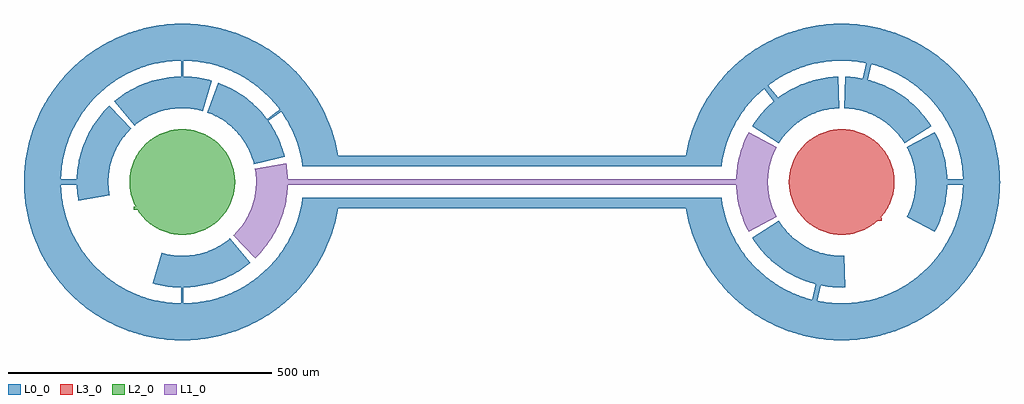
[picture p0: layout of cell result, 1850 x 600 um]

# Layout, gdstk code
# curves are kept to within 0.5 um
import gdstk
lib = gdstk.Library(unit=1e-6, precision=1e-09)
def P(c, l, *ps):  # polygons
    for p in ps: c.add(gdstk.Polygon(p, *l))
L0_0 = (0, 0)
L1_0 = (1, 0)
L2_0 = (2, 0)
L3_0 = (3, 0)

result = lib.new_cell('result')
P(result, L0_0, [(1450.361,1735.28),(1453.247,1705.981),(1458.991,1677.106),(1467.537,1648.933),(1478.803,1621.733),(1492.681,1595.769),(1509.038,1571.29),(1527.715,1548.532),(1550.602,1525.869),(1550.602,1635.384),(1537.873,1661.105),(1532.462,1675.319),(1528.002,1689.86),(1522.542,1715.899),(1520.061,1745),(1550.076,1745),(1550.602,1734.619),(1550.602,1765.332),(1550.077,1755),(1520.061,1755),(1522.542,1784.101),(1528.002,1810.14),(1532.462,1824.681),(1537.873,1838.895),(1550.602,1864.616),(1550.602,1974.131),(1527.715,1951.468),(1506.146,1924.743),(1487.773,1895.729),(1472.836,1864.805),(1461.531,1832.377),(1454.846,1803.705),(1450.642,1769.621)],
  [(1551.451,1866.096),(1559.558,1878.964),(1568.498,1891.269),(1578.231,1902.956),(1588.716,1913.974),(1599.905,1924.274),(1611.751,1933.813),(1635.195,1949.289),(1635.195,2027.164),(1612.929,2016.855),(1591.58,2004.761),(1571.29,1990.962),(1550.602,1974.131),(1550.602,1864.616)],
  [(1635.195,1913.755),(1632.236,1911.653),(1628.39,1908.779),(1624.613,1905.814),(1620.908,1902.759),(1635.195,1885.853)],
  [(1612.213,1725.208),(1610.007,1748.605),(1611.746,1772.042),(1615.381,1788.44),(1619.687,1801.172),(1626.753,1816.409),(1635.195,1830.112),(1635.195,1869.717),(1611.571,1894.352),(1598.368,1880.413),(1583.841,1861.316),(1571.706,1840.616),(1563.839,1823.102),(1557.687,1804.915),(1552.494,1781.489),(1550.602,1765.332),(1550.602,1734.619),(1553.161,1714.583)],
  [(1635.195,1550.711),(1621.036,1559.558),(1608.731,1568.498),(1597.044,1578.231),(1586.026,1588.716),(1575.726,1599.905),(1566.187,1611.751),(1550.602,1635.384),(1550.602,1525.869),(1571.29,1509.038),(1591.58,1495.239),(1612.929,1483.145),(1635.195,1472.836)],
  [(1635.195,1949.289),(1661.105,1962.127),(1686.197,1970.973),(1700.941,1974.707),(1715.899,1977.458),(1742.395,1979.874),(1742.395,2049.894),(1715.714,2048.034),(1686.667,2043.239),(1658.229,2035.619),(1635.195,2027.164)],
  [(1662.229,1859.07),(1681.71,1872.215),(1699.962,1880.752),(1719.251,1886.581),(1742.395,1889.792),(1742.395,1949.842),(1715.488,1947),(1701.401,1944.005),(1687.565,1940.005),(1674.054,1935.019),(1660.936,1929.074),(1648.28,1922.2),(1635.195,1913.755),(1635.195,1885.853),(1659.636,1856.931)],
  [(1635.593,1830.691),(1637.563,1833.414),(1639.598,1836.089),(1641.696,1838.715),(1643.857,1841.289),(1646.079,1843.811),(1648.361,1846.279),(1650.702,1848.691),(1653.1,1851.046),(1635.195,1869.717),(1635.195,1830.112)],
  [(1742.395,1610.217),(1727.323,1611.849),(1710.941,1615.559),(1694.202,1557.941),(1717.604,1552.641),(1742.395,1550.154)],
  [(1742.395,1520.126),(1715.899,1522.542),(1700.941,1525.293),(1686.197,1529.027),(1661.105,1537.873),(1635.195,1550.711),(1635.195,1472.836),(1658.229,1464.381),(1686.667,1456.761),(1715.714,1451.966),(1742.395,1450.106)],
  [(1748,1979.984),(1748,1949.981),(1742.395,1949.842),(1742.395,1889.792),(1766.02,1889.08),(1789.059,1884.441),(1805.798,1942.059),(1791.832,1945.576),(1777.649,1948.08),(1752,1949.977),(1752,1979.984),(1772.78,1978.869),(1795.337,1975.487),(1813.803,1970.973),(1835.127,1963.664),(1835.127,2037.659),(1813.333,2043.239),(1789.158,2047.433),(1764.72,2049.639),(1742.395,2049.894),(1742.395,1979.874)],
  [(1835.127,1930.974),(1817.748,1938.176),(1797.423,1881.723),(1815.842,1873.551),(1835.127,1861.139)],
  [(1754.909,1450.04),(1774.516,1451.003),(1794.019,1453.247),(1813.333,1456.761),(1835.127,1462.341),(1835.127,1536.336),(1813.803,1529.027),(1795.337,1524.513),(1772.78,1521.131),(1752,1520.016),(1752,1550.019),(1775.016,1551.571),(1793.928,1554.884),(1816.978,1561.549),(1835.127,1569.026),(1835.127,1638.854),(1824.077,1631.204),(1812.345,1624.648),(1790.499,1615.986),(1767.511,1611.099),(1754.112,1610.06),(1742.395,1610.217),(1742.395,1550.154),(1748,1550.023),(1748,1520.016),(1742.395,1520.126),(1742.395,1450.106)],
  [(1929.225,1990.573),(1908.42,2004.761),(1882.687,2019.062),(1860.255,2029.005),(1835.127,2037.659),(1835.127,1963.664),(1859.468,1952.279),(1872.597,1944.602),(1885.191,1936.074),(1897.193,1926.732),(1908.551,1916.618),(1919.216,1905.775),(1929.225,1894.146)],
  [(1885.959,1783.395),(1929.225,1794.022),(1929.225,1838.747),(1922.666,1850.928),(1912.962,1865.926),(1929.225,1877.742),(1929.225,1882.687),(1910.608,1869.161),(1893.714,1889.091),(1876.023,1905.301),(1856.518,1919.275),(1835.127,1930.974),(1835.127,1861.139),(1843.332,1854.351),(1852.908,1844.92),(1867.336,1826.369),(1878.457,1805.666)],
  [(1839.064,1570.926),(1859.869,1582.881),(1879.092,1597.241),(1840.364,1643.069),(1835.127,1638.854),(1835.127,1569.026)],
  [(1837.085,1462.918),(1864.805,1472.836),(1887.071,1483.145),(1908.42,1495.239),(1929.225,1509.427),(1929.225,1605.854),(1919.216,1594.225),(1908.551,1583.382),(1897.193,1573.268),(1885.191,1563.926),(1872.597,1555.398),(1859.468,1547.721),(1835.127,1536.336),(1835.127,1462.341)],
  [(2704.203,1800),(2045.797,1800),(2039.778,1827.646),(2030.772,1855.675),(2019.062,1882.687),(2004.761,1908.42),(1990.962,1928.71),(1972.285,1951.468),(1951.468,1972.285),(1929.225,1990.573),(1929.225,1894.146),(1934.885,1886.799),(1929.225,1882.687),(1929.225,1877.742),(1937.236,1883.563),(1948.549,1866.096),(1957.458,1849.304),(1964.95,1831.833),(1970.973,1813.803),(1976.206,1791.603),(1977,1780),(2704.203,1780)],
  [(1929.225,1794.022),(1944.227,1797.707),(1943.026,1802.356),(1941.713,1806.974),(1940.29,1811.56),(1938.757,1816.111),(1937.116,1820.623),(1935.367,1825.095),(1933.51,1829.523),(1931.548,1833.906),(1929.482,1838.24),(1929.225,1838.747)],
  [(1932.628,1511.994),(1955.078,1531.041),(1975.552,1552.196),(1990.962,1571.29),(2007.319,1595.769),(2021.197,1621.733),(2030.772,1644.325),(2039.778,1672.354),(2045.797,1700),(2704.203,1700),(2704.203,1720),(1977,1720),(1977,1713.008),(1972.962,1693.538),(1967.538,1675.319),(1962.127,1661.105),(1955.788,1647.28),(1948.549,1633.904),(1940.442,1621.036),(1929.225,1605.854),(1929.225,1509.427)],
  [(2773,1786.992),(2776.135,1802.768),(2780.112,1817.448),(2785.05,1831.833),(2792.542,1849.304),(2801.451,1866.096),(2809.558,1878.964),(2818.498,1891.269),(2828.231,1902.956),(2828.231,1995.948),(2805.913,1978.758),(2787.868,1962.132),(2771.242,1944.087),(2753.32,1920.73),(2740.192,1900),(2728.803,1878.267),(2719.228,1855.675),(2710.222,1827.646),(2704.203,1800),(2704.203,1780),(2773,1780)],
  [(2828.231,1597.044),(2816.187,1611.751),(2807.452,1624.202),(2797.721,1640.532),(2790.928,1654.14),(2783.727,1671.733),(2778.002,1689.86),(2773.137,1712.143),(2773,1720),(2704.203,1720),(2704.203,1700),(2707.837,1681.877),(2715.921,1653.568),(2726.741,1626.188),(2740.192,1600),(2753.32,1579.27),(2771.242,1555.913),(2787.868,1537.868),(2805.913,1521.242),(2828.231,1504.052)],
  [(2833.382,1908.551),(2852.723,1926.661),(2871.438,1903.192),(2859.958,1892.787),(2850.045,1882.339),(2840.91,1871.204),(2830.021,1855.391),(2881.015,1823.774),(2888.637,1834.843),(2897.286,1845.131),(2906.881,1854.541),(2918.167,1863.583),(2918.167,1932.48),(2897.928,1921.992),(2879.258,1909.426),(2860.545,1932.89),(2874.202,1942.548),(2887.203,1950.441),(2904.14,1959.072),(2918.167,1964.95),(2918.167,2038.62),(2894.325,2030.772),(2871.733,2021.197),(2850,2009.808),(2828.231,1995.948),(2828.231,1902.956)],
  [(2918.167,1636.419),(2906.619,1645.693),(2897.127,1655.041),(2888.566,1665.25),(2881.015,1676.226),(2830.021,1644.609),(2837.973,1632.751),(2846.75,1621.491),(2856.309,1610.886),(2866.599,1600.989),(2877.569,1591.852),(2889.163,1583.521),(2901.322,1576.038),(2918.167,1567.51)],
  [(2918.167,1535.05),(2904.14,1540.928),(2890.532,1547.721),(2867.904,1561.716),(2847.044,1578.231),(2828.231,1597.044),(2828.231,1504.052),(2829.27,1503.32),(2850,1490.192),(2871.733,1478.803),(2894.325,1469.228),(2918.167,1461.38)],
  [(2921.733,1966.273),(2943.538,1972.962),(2965.899,1977.458),(2988.596,1979.717),(3009.816,1979.783),(3009.816,2049.839),(2985.28,2049.639),(2965.714,2048.034),(2941.473,2044.236),(2918.167,2038.62),(2918.167,1964.95)],
  [(2920.071,1864.94),(2937.399,1875.224),(2956.024,1882.914),(2975.56,1887.85),(2995.602,1889.931),(2993.718,1949.901),(2974.579,1948.378),(2955.674,1945.026),(2937.177,1939.877),(2918.167,1932.48),(2918.167,1863.583)],
  [(3009.816,1949.748),(3006.282,1949.901),(3004.398,1889.931),(3007.756,1889.785),(3009.816,1889.646)],
  [(3004.909,1450.04),(3009.816,1450.161),(3009.816,1520.217),(2981.007,1520.786),(2953.708,1524.713),(2960.387,1553.975),(2982.506,1550.767),(3006.282,1550.099),(3004.398,1610.069),(2981.132,1611.277),(2958.389,1616.327),(2936.798,1625.078),(2918.167,1636.419),(2918.167,1567.51),(2936.028,1560.507),(2950.637,1556.197),(2943.958,1526.935),(2918.167,1535.05),(2918.167,1461.38),(2941.473,1455.764),(2960.842,1452.567),(2980.379,1450.642)],
  [(3125.798,1827.998),(3125.798,1905.481),(3110.21,1916.895),(3089.43,1928.892),(3071.864,1936.643),(3049.364,1943.808),(3056.042,1973.065),(3074.681,1967.538),(3092.39,1960.628),(3109.468,1952.279),(3125.798,1942.548),(3125.798,2022.34),(3096.432,2034.079),(3068.123,2042.163),(3039.158,2047.433),(3009.816,2049.839),(3009.816,1979.783),(3026.561,1978.461),(3046.292,1975.287),(3039.616,1946.037),(3025.421,1948.378),(3009.816,1949.748),(3009.816,1889.646),(3024.44,1887.85),(3037.545,1884.872),(3053.427,1879.405),(3065.589,1873.685),(3082.666,1862.989),(3095.602,1852.276),(3107.162,1840.091),(3118.985,1823.774)],
  [(3125.798,1817.452),(3123.382,1816.157),(3124.935,1813.176),(3125.798,1811.418)],
  [(3125.798,1688.582),(3124.935,1686.824),(3123.382,1683.843),(3125.798,1682.548)],
  [(3014.72,1450.361),(3044.019,1453.247),(3072.894,1458.991),(3101.067,1467.537),(3125.798,1477.66),(3125.798,1557.452),(3112.797,1549.559),(3099.304,1542.542),(3085.375,1536.433),(3071.074,1531.257),(3056.462,1527.038),(3041.603,1523.794),(3026.561,1521.539),(3009.816,1520.217),(3009.816,1450.161)],
  [(3199.87,1973.71),(3182.628,1988.006),(3166.671,1999.441),(3145.729,2012.227),(3125.798,2022.34),(3125.798,1942.548),(3147.193,1926.732),(3166.618,1908.551),(3183.813,1888.249),(3199.87,1863.793)],
  [(3169.979,1855.391),(3159.09,1871.204),(3149.955,1882.339),(3140.042,1892.787),(3125.798,1905.481),(3125.798,1827.998)],
  [(3178.479,1659.749),(3188.003,1681.772),(3192.425,1695.478),(3195.85,1709.468),(3199.294,1733.214),(3199.87,1757.201),(3197.57,1781.085),(3192.425,1804.522),(3184.511,1827.173),(3176.261,1844.51),(3125.798,1817.452),(3125.798,1811.418),(3132.71,1794.587),(3137.095,1778.373),(3139.184,1765.096),(3139.99,1751.681),(3139.184,1734.904),(3137.095,1721.627),(3132.71,1705.413),(3125.798,1688.582),(3125.798,1682.548),(3176.261,1655.49)],
  [(3128.267,1478.803),(3150,1490.192),(3166.671,1500.559),(3182.628,1511.994),(3199.87,1526.29),(3199.87,1636.208),(3183.813,1611.751),(3166.618,1591.449),(3147.193,1573.268),(3125.798,1557.452),(3125.798,1477.66)],
  [(3229.939,1745),(3227.458,1715.899),(3221.998,1689.86),(3217.538,1675.319),(3212.127,1661.105),(3199.87,1636.208),(3199.87,1526.29),(3212.132,1537.868),(3225.552,1552.196),(3246.68,1579.27),(3257.319,1595.769),(3266.855,1612.929),(3280.772,1644.325),(3287.082,1662.915),(3292.163,1681.877),(3298.034,1715.714),(3299.639,1735.28),(3299.96,1754.909),(3297.433,1789.158),(3293.239,1813.333),(3285.619,1841.771),(3277.164,1864.805),(3264.576,1891.419),(3252.135,1912.567),(3234.986,1936.498),(3218.959,1955.078),(3199.87,1973.71),(3199.87,1863.793),(3212.127,1838.895),(3217.538,1824.681),(3221.998,1810.14),(3227.458,1784.101),(3229.939,1755),(3199.923,1755),(3199.87,1757.201),(3199.87,1742.799),(3199.923,1745)],
  [(1450.361,1735.28),(1453.247,1705.981),(1458.991,1677.106),(1467.537,1648.933),(1478.803,1621.733),(1492.681,1595.769),(1509.038,1571.29),(1527.715,1548.532),(1550.602,1525.869),(1550.602,1635.384),(1537.873,1661.105),(1532.462,1675.319),(1528.002,1689.86),(1522.542,1715.899),(1520.061,1745),(1550.076,1745),(1550.602,1734.619),(1550.602,1765.332),(1550.077,1755),(1520.061,1755),(1522.542,1784.101),(1528.002,1810.14),(1532.462,1824.681),(1537.873,1838.895),(1550.602,1864.616),(1550.602,1974.131),(1527.715,1951.468),(1506.146,1924.743),(1487.773,1895.729),(1472.836,1864.805),(1461.531,1832.377),(1454.846,1803.705),(1450.642,1769.621)],
  [(1551.451,1866.096),(1559.558,1878.964),(1568.498,1891.269),(1578.231,1902.956),(1588.716,1913.974),(1599.905,1924.274),(1611.751,1933.813),(1635.195,1949.289),(1635.195,2027.164),(1612.929,2016.855),(1591.58,2004.761),(1571.29,1990.962),(1550.602,1974.131),(1550.602,1864.616)],
  [(1635.195,1913.755),(1632.236,1911.653),(1628.39,1908.779),(1624.613,1905.814),(1620.908,1902.759),(1635.195,1885.853)],
  [(1612.213,1725.208),(1610.007,1748.605),(1611.746,1772.042),(1615.381,1788.44),(1619.687,1801.172),(1626.753,1816.409),(1635.195,1830.112),(1635.195,1869.717),(1611.571,1894.352),(1598.368,1880.413),(1583.841,1861.316),(1571.706,1840.616),(1563.839,1823.102),(1557.687,1804.915),(1552.494,1781.489),(1550.602,1765.332),(1550.602,1734.619),(1553.161,1714.583)],
  [(1635.195,1550.711),(1621.036,1559.558),(1608.731,1568.498),(1597.044,1578.231),(1586.026,1588.716),(1575.726,1599.905),(1566.187,1611.751),(1550.602,1635.384),(1550.602,1525.869),(1571.29,1509.038),(1591.58,1495.239),(1612.929,1483.145),(1635.195,1472.836)],
  [(1635.195,1949.289),(1661.105,1962.127),(1686.197,1970.973),(1700.941,1974.707),(1715.899,1977.458),(1742.395,1979.874),(1742.395,2049.894),(1715.714,2048.034),(1686.667,2043.239),(1658.229,2035.619),(1635.195,2027.164)],
  [(1662.229,1859.07),(1681.71,1872.215),(1699.962,1880.752),(1719.251,1886.581),(1742.395,1889.792),(1742.395,1949.842),(1715.488,1947),(1701.401,1944.005),(1687.565,1940.005),(1674.054,1935.019),(1660.936,1929.074),(1648.28,1922.2),(1635.195,1913.755),(1635.195,1885.853),(1659.636,1856.931)],
  [(1635.593,1830.691),(1637.563,1833.414),(1639.598,1836.089),(1641.696,1838.715),(1643.857,1841.289),(1646.079,1843.811),(1648.361,1846.279),(1650.702,1848.691),(1653.1,1851.046),(1635.195,1869.717),(1635.195,1830.112)],
  [(1742.395,1610.217),(1727.323,1611.849),(1710.941,1615.559),(1694.202,1557.941),(1717.604,1552.641),(1742.395,1550.154)],
  [(1742.395,1520.126),(1715.899,1522.542),(1700.941,1525.293),(1686.197,1529.027),(1661.105,1537.873),(1635.195,1550.711),(1635.195,1472.836),(1658.229,1464.381),(1686.667,1456.761),(1715.714,1451.966),(1742.395,1450.106)],
  [(1748,1979.984),(1748,1949.981),(1742.395,1949.842),(1742.395,1889.792),(1766.02,1889.08),(1789.059,1884.441),(1805.798,1942.059),(1791.832,1945.576),(1777.649,1948.08),(1752,1949.977),(1752,1979.984),(1772.78,1978.869),(1795.337,1975.487),(1813.803,1970.973),(1835.127,1963.664),(1835.127,2037.659),(1813.333,2043.239),(1789.158,2047.433),(1764.72,2049.639),(1742.395,2049.894),(1742.395,1979.874)],
  [(1835.127,1930.974),(1817.748,1938.176),(1797.423,1881.723),(1815.842,1873.551),(1835.127,1861.139)],
  [(1754.909,1450.04),(1774.516,1451.003),(1794.019,1453.247),(1813.333,1456.761),(1835.127,1462.341),(1835.127,1536.336),(1813.803,1529.027),(1795.337,1524.513),(1772.78,1521.131),(1752,1520.016),(1752,1550.019),(1775.016,1551.571),(1793.928,1554.884),(1816.978,1561.549),(1835.127,1569.026),(1835.127,1638.854),(1824.077,1631.204),(1812.345,1624.648),(1790.499,1615.986),(1767.511,1611.099),(1754.112,1610.06),(1742.395,1610.217),(1742.395,1550.154),(1748,1550.023),(1748,1520.016),(1742.395,1520.126),(1742.395,1450.106)],
  [(1929.225,1990.573),(1908.42,2004.761),(1882.687,2019.062),(1860.255,2029.005),(1835.127,2037.659),(1835.127,1963.664),(1859.468,1952.279),(1872.597,1944.602),(1885.191,1936.074),(1897.193,1926.732),(1908.551,1916.618),(1919.216,1905.775),(1929.225,1894.146)],
  [(1885.959,1783.395),(1929.225,1794.022),(1929.225,1838.747),(1922.666,1850.928),(1912.962,1865.926),(1929.225,1877.742),(1929.225,1882.687),(1910.608,1869.161),(1893.714,1889.091),(1876.023,1905.301),(1856.518,1919.275),(1835.127,1930.974),(1835.127,1861.139),(1843.332,1854.351),(1852.908,1844.92),(1867.336,1826.369),(1878.457,1805.666)],
  [(1839.064,1570.926),(1859.869,1582.881),(1879.092,1597.241),(1840.364,1643.069),(1835.127,1638.854),(1835.127,1569.026)],
  [(1837.085,1462.918),(1864.805,1472.836),(1887.071,1483.145),(1908.42,1495.239),(1929.225,1509.427),(1929.225,1605.854),(1919.216,1594.225),(1908.551,1583.382),(1897.193,1573.268),(1885.191,1563.926),(1872.597,1555.398),(1859.468,1547.721),(1835.127,1536.336),(1835.127,1462.341)],
  [(2704.203,1800),(2045.797,1800),(2039.778,1827.646),(2030.772,1855.675),(2019.062,1882.687),(2004.761,1908.42),(1990.962,1928.71),(1972.285,1951.468),(1951.468,1972.285),(1929.225,1990.573),(1929.225,1894.146),(1934.885,1886.799),(1929.225,1882.687),(1929.225,1877.742),(1937.236,1883.563),(1948.549,1866.096),(1957.458,1849.304),(1964.95,1831.833),(1970.973,1813.803),(1976.206,1791.603),(1977,1780),(2704.203,1780)],
  [(1929.225,1794.022),(1944.227,1797.707),(1943.026,1802.356),(1941.713,1806.974),(1940.29,1811.56),(1938.757,1816.111),(1937.116,1820.623),(1935.367,1825.095),(1933.51,1829.523),(1931.548,1833.906),(1929.482,1838.24),(1929.225,1838.747)],
  [(1932.628,1511.994),(1955.078,1531.041),(1975.552,1552.196),(1990.962,1571.29),(2007.319,1595.769),(2021.197,1621.733),(2030.772,1644.325),(2039.778,1672.354),(2045.797,1700),(2704.203,1700),(2704.203,1720),(1977,1720),(1977,1713.008),(1972.962,1693.538),(1967.538,1675.319),(1962.127,1661.105),(1955.788,1647.28),(1948.549,1633.904),(1940.442,1621.036),(1929.225,1605.854),(1929.225,1509.427)],
  [(2773,1786.992),(2776.135,1802.768),(2780.112,1817.448),(2785.05,1831.833),(2792.542,1849.304),(2801.451,1866.096),(2809.558,1878.964),(2818.498,1891.269),(2828.231,1902.956),(2828.231,1995.948),(2805.913,1978.758),(2787.868,1962.132),(2771.242,1944.087),(2753.32,1920.73),(2740.192,1900),(2728.803,1878.267),(2719.228,1855.675),(2710.222,1827.646),(2704.203,1800),(2704.203,1780),(2773,1780)],
  [(2828.231,1597.044),(2816.187,1611.751),(2807.452,1624.202),(2797.721,1640.532),(2790.928,1654.14),(2783.727,1671.733),(2778.002,1689.86),(2773.137,1712.143),(2773,1720),(2704.203,1720),(2704.203,1700),(2707.837,1681.877),(2715.921,1653.568),(2726.741,1626.188),(2740.192,1600),(2753.32,1579.27),(2771.242,1555.913),(2787.868,1537.868),(2805.913,1521.242),(2828.231,1504.052)],
  [(2833.382,1908.551),(2852.723,1926.661),(2871.438,1903.192),(2859.958,1892.787),(2850.045,1882.339),(2840.91,1871.204),(2830.021,1855.391),(2881.015,1823.774),(2888.637,1834.843),(2897.286,1845.131),(2906.881,1854.541),(2918.167,1863.583),(2918.167,1932.48),(2897.928,1921.992),(2879.258,1909.426),(2860.545,1932.89),(2874.202,1942.548),(2887.203,1950.441),(2904.14,1959.072),(2918.167,1964.95),(2918.167,2038.62),(2894.325,2030.772),(2871.733,2021.197),(2850,2009.808),(2828.231,1995.948),(2828.231,1902.956)],
  [(2918.167,1636.419),(2906.619,1645.693),(2897.127,1655.041),(2888.566,1665.25),(2881.015,1676.226),(2830.021,1644.609),(2837.973,1632.751),(2846.75,1621.491),(2856.309,1610.886),(2866.599,1600.989),(2877.569,1591.852),(2889.163,1583.521),(2901.322,1576.038),(2918.167,1567.51)],
  [(2918.167,1535.05),(2904.14,1540.928),(2890.532,1547.721),(2867.904,1561.716),(2847.044,1578.231),(2828.231,1597.044),(2828.231,1504.052),(2829.27,1503.32),(2850,1490.192),(2871.733,1478.803),(2894.325,1469.228),(2918.167,1461.38)],
  [(2921.733,1966.273),(2943.538,1972.962),(2965.899,1977.458),(2988.596,1979.717),(3009.816,1979.783),(3009.816,2049.839),(2985.28,2049.639),(2965.714,2048.034),(2941.473,2044.236),(2918.167,2038.62),(2918.167,1964.95)],
  [(2920.071,1864.94),(2937.399,1875.224),(2956.024,1882.914),(2975.56,1887.85),(2995.602,1889.931),(2993.718,1949.901),(2974.579,1948.378),(2955.674,1945.026),(2937.177,1939.877),(2918.167,1932.48),(2918.167,1863.583)],
  [(3009.816,1949.748),(3006.282,1949.901),(3004.398,1889.931),(3007.756,1889.785),(3009.816,1889.646)],
  [(3004.909,1450.04),(3009.816,1450.161),(3009.816,1520.217),(2981.007,1520.786),(2953.708,1524.713),(2960.387,1553.975),(2982.506,1550.767),(3006.282,1550.099),(3004.398,1610.069),(2981.132,1611.277),(2958.389,1616.327),(2936.798,1625.078),(2918.167,1636.419),(2918.167,1567.51),(2936.028,1560.507),(2950.637,1556.197),(2943.958,1526.935),(2918.167,1535.05),(2918.167,1461.38),(2941.473,1455.764),(2960.842,1452.567),(2980.379,1450.642)],
  [(3125.798,1827.998),(3125.798,1905.481),(3110.21,1916.895),(3089.43,1928.892),(3071.864,1936.643),(3049.364,1943.808),(3056.042,1973.065),(3074.681,1967.538),(3092.39,1960.628),(3109.468,1952.279),(3125.798,1942.548),(3125.798,2022.34),(3096.432,2034.079),(3068.123,2042.163),(3039.158,2047.433),(3009.816,2049.839),(3009.816,1979.783),(3026.561,1978.461),(3046.292,1975.287),(3039.616,1946.037),(3025.421,1948.378),(3009.816,1949.748),(3009.816,1889.646),(3024.44,1887.85),(3037.545,1884.872),(3053.427,1879.405),(3065.589,1873.685),(3082.666,1862.989),(3095.602,1852.276),(3107.162,1840.091),(3118.985,1823.774)],
  [(3125.798,1817.452),(3123.382,1816.157),(3124.935,1813.176),(3125.798,1811.418)],
  [(3125.798,1688.582),(3124.935,1686.824),(3123.382,1683.843),(3125.798,1682.548)],
  [(3014.72,1450.361),(3044.019,1453.247),(3072.894,1458.991),(3101.067,1467.537),(3125.798,1477.66),(3125.798,1557.452),(3112.797,1549.559),(3099.304,1542.542),(3085.375,1536.433),(3071.074,1531.257),(3056.462,1527.038),(3041.603,1523.794),(3026.561,1521.539),(3009.816,1520.217),(3009.816,1450.161)],
  [(3199.87,1973.71),(3182.628,1988.006),(3166.671,1999.441),(3145.729,2012.227),(3125.798,2022.34),(3125.798,1942.548),(3147.193,1926.732),(3166.618,1908.551),(3183.813,1888.249),(3199.87,1863.793)],
  [(3169.979,1855.391),(3159.09,1871.204),(3149.955,1882.339),(3140.042,1892.787),(3125.798,1905.481),(3125.798,1827.998)],
  [(3178.479,1659.749),(3188.003,1681.772),(3192.425,1695.478),(3195.85,1709.468),(3199.294,1733.214),(3199.87,1757.201),(3197.57,1781.085),(3192.425,1804.522),(3184.511,1827.173),(3176.261,1844.51),(3125.798,1817.452),(3125.798,1811.418),(3132.71,1794.587),(3137.095,1778.373),(3139.184,1765.096),(3139.99,1751.681),(3139.184,1734.904),(3137.095,1721.627),(3132.71,1705.413),(3125.798,1688.582),(3125.798,1682.548),(3176.261,1655.49)],
  [(3128.267,1478.803),(3150,1490.192),(3166.671,1500.559),(3182.628,1511.994),(3199.87,1526.29),(3199.87,1636.208),(3183.813,1611.751),(3166.618,1591.449),(3147.193,1573.268),(3125.798,1557.452),(3125.798,1477.66)],
  [(3229.939,1745),(3227.458,1715.899),(3221.998,1689.86),(3217.538,1675.319),(3212.127,1661.105),(3199.87,1636.208),(3199.87,1526.29),(3212.132,1537.868),(3225.552,1552.196),(3246.68,1579.27),(3257.319,1595.769),(3266.855,1612.929),(3280.772,1644.325),(3287.082,1662.915),(3292.163,1681.877),(3298.034,1715.714),(3299.639,1735.28),(3299.96,1754.909),(3297.433,1789.158),(3293.239,1813.333),(3285.619,1841.771),(3277.164,1864.805),(3264.576,1891.419),(3252.135,1912.567),(3234.986,1936.498),(3218.959,1955.078),(3199.87,1973.71),(3199.87,1863.793),(3212.127,1838.895),(3217.538,1824.681),(3221.998,1810.14),(3227.458,1784.101),(3229.939,1755),(3199.923,1755),(3199.87,1757.201),(3199.87,1742.799),(3199.923,1745)])
P(result, L1_0, [(2808.939,1809.125),(2805.18,1795.222),(2802.43,1781.085),(2800.077,1755),(1949.924,1755),(1948.878,1771.16),(1946.839,1785.417),(1887.787,1774.792),(1889.765,1758.113),(1889.73,1741.316),(1887.685,1724.645),(1883.658,1708.339),(1876.293,1689.583),(1868.148,1674.894),(1858.304,1661.285),(1846.9,1648.954),(1888.429,1605.648),(1901.632,1619.587),(1913.439,1634.727),(1923.739,1650.93),(1932.438,1668.046),(1939.456,1685.918),(1944.727,1704.38),(1948.205,1723.262),(1949.923,1745),(2800.077,1745),(2801.741,1723.667),(2806.322,1700.114),(2813.69,1677.278),(2823.739,1655.49),(2876.618,1683.843),(2869.583,1699.095),(2864.425,1715.08),(2861.219,1731.567),(2860.01,1748.319),(2860.816,1765.096),(2864.425,1784.92),(2869.583,1800.905),(2876.618,1816.157),(2823.739,1844.51),(2815.489,1827.173)])
P(result, L2_0, [(1751.441,1849.99),(1734.214,1848.746),(1714.747,1843.58),(1696.71,1834.618),(1680.834,1822.223),(1667.765,1806.898),(1658.031,1789.265),(1652.028,1770.039),(1650,1750),(1650.664,1738.497),(1652.646,1727.146),(1655.922,1716.099),(1661.734,1703),(1658.147,1703),(1658.147,1697),(1665.212,1697),(1672.985,1686.213),(1682.944,1675.814),(1694.293,1666.953),(1704.216,1661.096),(1714.747,1656.42),(1725.746,1652.986),(1737.066,1650.84),(1748.559,1650.01),(1751.441,1650.01)],
  [(1754.322,1650.093),(1771.449,1652.327),(1790.586,1658.606),(1808.077,1668.593),(1823.212,1681.882),(1835.377,1697.935),(1843.062,1713.402),(1847.972,1729.961),(1850,1750),(1847.972,1770.039),(1841.969,1789.265),(1833.841,1804.504),(1821.218,1820.199),(1805.707,1833.047),(1790.586,1841.394),(1771.449,1847.673),(1751.441,1849.99),(1751.441,1650.01)])
P(result, L3_0, [(3001.441,1849.99),(2984.214,1848.746),(2964.747,1843.58),(2946.71,1834.618),(2930.834,1822.223),(2917.765,1806.898),(2908.031,1789.265),(2902.028,1770.039),(2900,1750),(2902.028,1729.961),(2908.031,1710.735),(2916.159,1695.496),(2928.782,1679.801),(2944.293,1666.953),(2959.414,1658.606),(2978.551,1652.327),(2998.559,1650.01),(3001.441,1650.01)],
  [(3004.322,1650.093),(3021.449,1652.327),(3035.253,1656.42),(3053.29,1665.382),(3067.567,1676.289),(3075.961,1676.289),(3075.961,1682.289),(3073.58,1682.289),(3080.562,1690.756),(3086.842,1700.417),(3095.016,1718.824),(3098.963,1735.639),(3100,1750),(3097.972,1770.039),(3091.969,1789.265),(3083.841,1804.504),(3071.218,1820.199),(3055.707,1833.047),(3040.586,1841.394),(3021.449,1847.673),(3001.441,1849.99),(3001.441,1650.01)])

lib.write_gds('result.gds')
